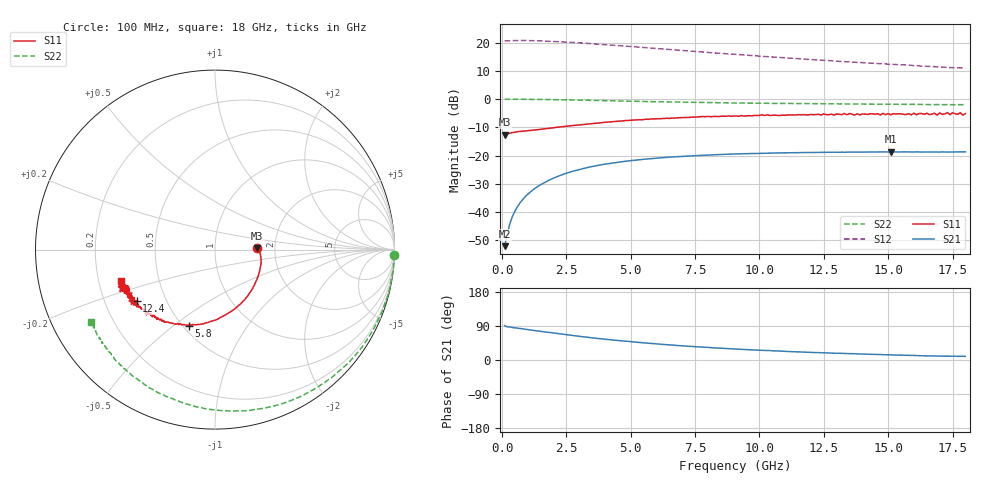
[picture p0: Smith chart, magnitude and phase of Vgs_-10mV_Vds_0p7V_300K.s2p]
#  HZ  S  DB  R  50.00
! Rohde & Schwarz ZVA50 4Ports - Version 4.11 - 1145.1110k52 SN: 100136
! Date: 2022-09-20 22:16:53
! Measurements: S11 S21 S12 S22
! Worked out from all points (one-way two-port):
!   180 points, 100 MHz to 18 GHz, reference 50 ohm
!   highest |S21| = -18.64 dB at 15.1 GHz (marker M1); lowest = -52.1 dB at 100 MHz (marker M2)
!   lowest |S11| = -12.6 dB at 100 MHz (marker M3), VSWR 1.61, Z = 80.5 + j1.08 ohm
!   |S11| at or under -10 dB: start of sweep to 2.091 GHz
!   |S22| runs from -2.0 to 0.0 dB; largest |S21 - S12| = 11
!   S11 on the Smith chart (normalised r, x): 100 MHz: 1.61, +0.02; 5.8 GHz: 0.54, -0.57; 12.4 GHz: 0.34, -0.27; 18 GHz: 0.29, -0.15
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1e8  -12.61 1.6  -52.06 90.6  20.61 179.9  -0.03 -1.6
3e8  -12.03 -3.8  -44.20 87.4  20.71 177.8  -0.01 -5.2
5e8  -11.71 -10.6  -39.67 85.0  20.76 175.8  -0.03 -8.7
8e8  -11.36 -20.5  -35.57 82.1  20.79 172.5  -0.03 -13.9
1.3e9  -10.86 -35.0  -31.47 77.5  20.68 167.2  -0.08 -22.3
1.9e9  -10.22 -50.4  -28.37 72.2  20.46 161.2  -0.15 -32.2
2.3e9  -9.77 -59.3  -26.89 68.5  20.30 157.5  -0.21 -38.6
3.1e9  -9.02 -74.4  -24.69 61.7  19.89 150.5  -0.35 -50.4
3.8e9  -8.41 -85.8  -23.32 56.3  19.47 144.6  -0.48 -60.3
4.5e9  -7.80 -95.3  -22.34 51.5  19.00 139.4  -0.62 -69.3
5e9  -7.46 -101.0  -21.76 48.4  18.65 135.9  -0.72 -75.2
5.8e9  -6.97 -108.9  -21.03 43.6  18.09 131.1  -0.87 -83.8
6.1e9  -6.91 -111.4  -20.81 42.0  17.87 129.3  -0.92 -86.9
7.6e9  -6.29 -123.6  -19.97 34.8  16.80 121.5  -1.17 -100.5
9.1e9  -5.97 -130.9  -19.38 28.9  15.86 115.2  -1.32 -111.4
1.01e10  -5.55 -136.5  -19.20 25.5  15.15 111.3  -1.45 -118.0
1.21e10  -5.51 -144.0  -18.88 19.9  13.97 105.0  -1.61 -128.6
1.24e10  -5.65 -146.6  -18.82 19.1  13.83 104.0  -1.60 -130.0
1.4e10  -5.23 -153.0  -18.75 15.7  12.87 100.0  -1.71 -137.0
1.51e10  -5.53 -150.8  -18.64 13.8  12.42 97.5  -1.78 -140.5
1.58e10  -5.13 -155.3  -18.69 12.1  12.01 95.2  -1.85 -143.9
1.8e10  -5.12 -161.4  -18.64 9.5  11.00 91.6  -1.93 -149.6
